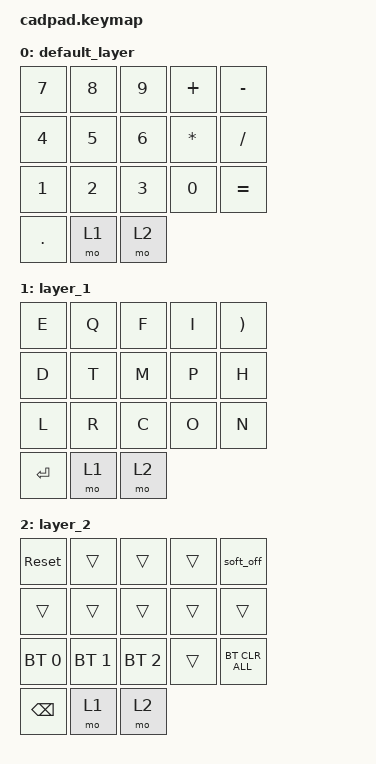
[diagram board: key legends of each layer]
#include <behaviors.dtsi>
#include <dt-bindings/zmk/bt.h>
#include <dt-bindings/zmk/keys.h>

#define default_layer 0
#define layer_1   1
#define layer_2   2

/ {
    keymap {
        compatible = "zmk,keymap";

        default_layer {
            bindings = <
&kp N7      &kp N8  &kp N9  &kp PLUS      &kp MINUS
&kp N4      &kp N5  &kp N6  &kp ASTERISK  &kp SLASH
&kp N1      &kp N2  &kp N3  &kp N0        &kp EQUAL
&kp PERIOD  &mo 1   &mo 2
            >;
        };

        layer_1 {
            bindings = <
&kp E      &kp Q  &kp F  &kp I  &kp RIGHT_PARENTHESIS
&kp D      &kp T  &kp M  &kp P  &kp H
&kp L      &kp R  &kp C  &kp O  &kp N
&kp ENTER  &mo 1  &mo 2
            >;
        };

        layer_2 {
            bindings = <
&sys_reset     &trans        &trans        &trans  &soft_off
&trans         &trans        &trans        &trans  &trans
&bt BT_SEL 0   &bt BT_SEL 1  &bt BT_SEL 2  &trans  &bt BT_CLR_ALL
&kp BACKSPACE  &mo 1         &mo 2
            >;
        };
    };
};
